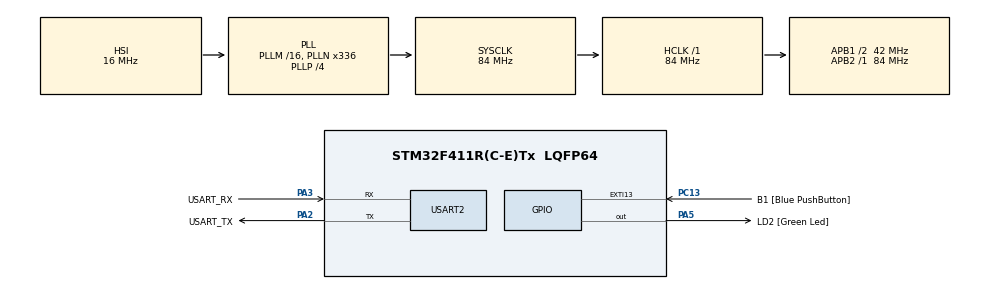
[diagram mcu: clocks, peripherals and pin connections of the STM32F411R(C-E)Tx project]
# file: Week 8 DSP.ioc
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ARM.CMSIS.5.6.0.CMSISJjCORE=true
ARM.CMSIS.5.6.0.CMSISJjDSP=Library
Mcu.Family=STM32F4
Mcu.Name=STM32F411R(C-E)Tx
Mcu.Package=LQFP64
NVIC.PriorityGroup=NVIC_PRIORITYGROUP_0
PA13.GPIO_Label=TMS
PA13.Mode=Trace_Asynchronous_SW
PA13.Signal=SYS_JTMS-SWDIO
PA14.GPIO_Label=TCK
PA14.Mode=Trace_Asynchronous_SW
PA14.Signal=SYS_JTCK-SWCLK
PA2.GPIO_Label=USART_TX
PA2.Mode=Asynchronous
PA2.Signal=USART2_TX
PA3.GPIO_Label=USART_RX
PA3.Mode=Asynchronous
PA3.Signal=USART2_RX
PA5.GPIO_Label=LD2 [Green Led]
PA5.Signal=GPIO_Output
PB3.GPIO_Label=SWO
PB3.Mode=Trace_Asynchronous_SW
PB3.Signal=SYS_JTDO-SWO
PC13-ANTI_TAMP.GPIO_Label=B1 [Blue PushButton]
PC13-ANTI_TAMP.GPIO_ModeDefaultEXTI=GPIO_MODE_IT_FALLING
PC13-ANTI_TAMP.Signal=GPXTI13
PC14-OSC32_IN.Mode=LSE-External-Oscillator
PC14-OSC32_IN.Signal=RCC_OSC32_IN
PC15-OSC32_OUT.Mode=LSE-External-Oscillator
PC15-OSC32_OUT.Signal=RCC_OSC32_OUT
PH0\ -\ OSC_IN.Mode=HSE-External-Clock-Source
PH0\ -\ OSC_IN.Signal=RCC_OSC_IN
PH1\ -\ OSC_OUT.Mode=HSE-External-Clock-Source
PH1\ -\ OSC_OUT.Signal=RCC_OSC_OUT
ProjectManager.HeapSize=0x200
ProjectManager.StackSize=0x400
ProjectManager.TargetToolchain=STM32CubeIDE
RCC.48MHZClocksFreq_Value=84000000
RCC.AHBFreq_Value=84000000
RCC.APB1CLKDivider=RCC_HCLK_DIV2
RCC.APB1Freq_Value=42000000
RCC.APB1TimFreq_Value=84000000
RCC.APB2Freq_Value=84000000
RCC.APB2TimFreq_Value=84000000
RCC.CortexFreq_Value=84000000
RCC.FLatency-AdvancedSettings=FLASH_LATENCY_2
RCC.HCLKFreq_Value=84000000
RCC.HSE_VALUE=8000000
RCC.HSI_VALUE=16000000
RCC.PLLN=336
RCC.PLLP=RCC_PLLP_DIV4
RCC.SYSCLKFreq_VALUE=84000000
RCC.SYSCLKSource=RCC_SYSCLKSOURCE_PLLCLK
RCC.VCOOutputFreq_Value=336000000
USART2.VirtualMode=VM_ASYNC
VP_ARM.CMSIS_VS_CMSISJjCORE_5.3.0_5.6.0.Mode=CMSISJjCORE
VP_ARM.CMSIS_VS_CMSISJjDSP_1.7.0_5.6.0.Mode=CMSISJjDSP
board=NUCLEO-F411RE

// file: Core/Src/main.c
/* USER CODE BEGIN Header */
/**
 ******************************************************************************
 * @file           : main.c
 * @brief          : Main program body
 ******************************************************************************
 * @attention
 *
 * Copyright (c) 2023 STMicroelectronics.
 * All rights reserved.
 *
 * This software is licensed under terms that can be found in the LICENSE file
 * in the root directory of this software component.
 * If no LICENSE file comes with this software, it is provided AS-IS.
 *
 ******************************************************************************
 */
/* USER CODE END Header */
#include "main.h"

/* USER CODE BEGIN Includes */
#include "arm_math.h"
/* USER CODE END Includes */

UART_HandleTypeDef huart2;

/* USER CODE BEGIN PV */

arm_pid_instance_f32 PID = { 0 };
float position = 0;
float setposition = 0;
float Vfeedback = 0;

/* USER CODE END PV */

void SystemClock_Config(void);
static void MX_GPIO_Init(void);
static void MX_USART2_UART_Init(void);
/* USER CODE BEGIN PFP */

float PlantSimulation(float Vin);

/* USER CODE END PFP */

int main(void) {

	/* MCU Configuration--------------------------------------------------------*/

	/* Reset of all peripherals, Initializes the Flash interface and the Systick. */
	HAL_Init();

	/* Configure the system clock */
	SystemClock_Config();

	/* Initialize all configured peripherals */
	MX_GPIO_Init();
	MX_USART2_UART_Init();
	/* USER CODE BEGIN 2 */

	PID.Kp = 0.1;
	PID.Ki = 0.00001;
	PID.Kd = 0.1;
	arm_pid_init_f32(&PID, 0);

	/* USER CODE END 2 */

	/* Infinite loop */
	/* USER CODE BEGIN WHILE */
	while (1) {
		static uint32_t timestamp = 0;
		if (timestamp < HAL_GetTick()) {
			timestamp = HAL_GetTick() + 10;

			Vfeedback = arm_pid_f32(&PID, setposition - position);
			position = PlantSimulation(Vfeedback);
		}
		/* USER CODE END WHILE */

	}
}

void SystemClock_Config(void) {
	RCC_OscInitTypeDef RCC_OscInitStruct = { 0 };
	RCC_ClkInitTypeDef RCC_ClkInitStruct = { 0 };

	/** Configure the main internal regulator output voltage
	 */
	__HAL_RCC_PWR_CLK_ENABLE();
	__HAL_PWR_VOLTAGESCALING_CONFIG(PWR_REGULATOR_VOLTAGE_SCALE1);

	/** Initializes the RCC Oscillators according to the specified parameters
	 * in the RCC_OscInitTypeDef structure.
	 */
	RCC_OscInitStruct.OscillatorType = RCC_OSCILLATORTYPE_HSI;
	RCC_OscInitStruct.HSIState = RCC_HSI_ON;
	RCC_OscInitStruct.HSICalibrationValue = RCC_HSICALIBRATION_DEFAULT;
	RCC_OscInitStruct.PLL.PLLState = RCC_PLL_ON;
	RCC_OscInitStruct.PLL.PLLSource = RCC_PLLSOURCE_HSI;
	RCC_OscInitStruct.PLL.PLLM = 16;
	RCC_OscInitStruct.PLL.PLLN = 336;
	RCC_OscInitStruct.PLL.PLLP = RCC_PLLP_DIV4;
	RCC_OscInitStruct.PLL.PLLQ = 4;
	if (HAL_RCC_OscConfig(&RCC_OscInitStruct) != HAL_OK) {
		Error_Handler();
	}

	/** Initializes the CPU, AHB and APB buses clocks
	 */
	RCC_ClkInitStruct.ClockType = RCC_CLOCKTYPE_HCLK | RCC_CLOCKTYPE_SYSCLK | RCC_CLOCKTYPE_PCLK1 | RCC_CLOCKTYPE_PCLK2;
	RCC_ClkInitStruct.SYSCLKSource = RCC_SYSCLKSOURCE_PLLCLK;
	RCC_ClkInitStruct.AHBCLKDivider = RCC_SYSCLK_DIV1;
	RCC_ClkInitStruct.APB1CLKDivider = RCC_HCLK_DIV2;
	RCC_ClkInitStruct.APB2CLKDivider = RCC_HCLK_DIV1;

	if (HAL_RCC_ClockConfig(&RCC_ClkInitStruct, FLASH_LATENCY_2) != HAL_OK) {
		Error_Handler();
	}
}

static void MX_USART2_UART_Init(void) {

	huart2.Instance = USART2;
	huart2.Init.BaudRate = 115200;
	huart2.Init.WordLength = UART_WORDLENGTH_8B;
	huart2.Init.StopBits = UART_STOPBITS_1;
	huart2.Init.Parity = UART_PARITY_NONE;
	huart2.Init.Mode = UART_MODE_TX_RX;
	huart2.Init.HwFlowCtl = UART_HWCONTROL_NONE;
	huart2.Init.OverSampling = UART_OVERSAMPLING_16;
	if (HAL_UART_Init(&huart2) != HAL_OK) {
		Error_Handler();
	}

}

static void MX_GPIO_Init(void) {
	GPIO_InitTypeDef GPIO_InitStruct = { 0 };

	/* GPIO Ports Clock Enable */
	__HAL_RCC_GPIOC_CLK_ENABLE();
	__HAL_RCC_GPIOH_CLK_ENABLE();
	__HAL_RCC_GPIOA_CLK_ENABLE();
	__HAL_RCC_GPIOB_CLK_ENABLE();

	/*Configure GPIO pin Output Level */
	HAL_GPIO_WritePin(LD2_GPIO_Port, LD2_Pin, GPIO_PIN_RESET);

	/*Configure GPIO pin : B1_Pin */
	GPIO_InitStruct.Pin = B1_Pin;
	GPIO_InitStruct.Mode = GPIO_MODE_IT_FALLING;
	GPIO_InitStruct.Pull = GPIO_NOPULL;
	HAL_GPIO_Init(B1_GPIO_Port, &GPIO_InitStruct);

	/*Configure GPIO pin : LD2_Pin */
	GPIO_InitStruct.Pin = LD2_Pin;
	GPIO_InitStruct.Mode = GPIO_MODE_OUTPUT_PP;
	GPIO_InitStruct.Pull = GPIO_NOPULL;
	GPIO_InitStruct.Speed = GPIO_SPEED_FREQ_LOW;
	HAL_GPIO_Init(LD2_GPIO_Port, &GPIO_InitStruct);

}

/* USER CODE BEGIN 4 */

float PlantSimulation(float Vin) {
	static float speed = 0;
	static float position = 0;
	float current = Vin - speed * 0.0123;
	float torque = current * 0.456;
	float acc = torque * 0.789;
	speed += acc;
	position += speed;
	return position;
}

/* USER CODE END 4 */

void Error_Handler(void) {
	__disable_irq();
	while (1) {
	}
}
